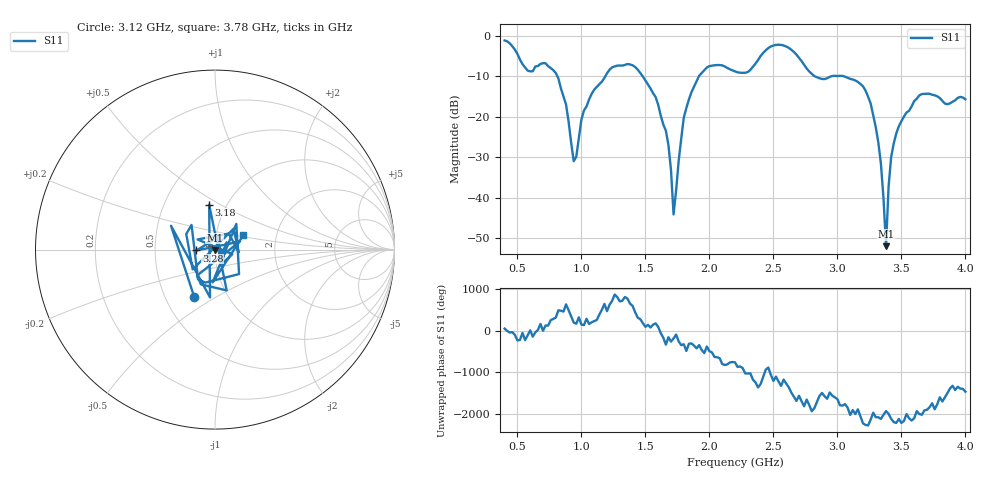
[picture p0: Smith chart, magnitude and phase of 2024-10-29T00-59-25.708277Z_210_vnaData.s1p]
!Created with skrf (http://scikit-rf.org).
# Hz S RI R 50.0
!freq ReS11 ImS11
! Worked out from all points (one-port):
!   181 points, 400 MHz to 4 GHz, reference 50 ohm
!   lowest |S11| = -52.0 dB at 3.38 GHz (marker M1), VSWR 1.01, Z = 49.8 - j0.166 ohm
!   |S11| at or under -10 dB: 811.3 MHz to 1.188 GHz (376.7 MHz wide, 37.7 % of centre); 1.478 GHz to 1.919 GHz (441.4 MHz wide, 26 % of centre); 3.044 GHz to end of sweep (the widest 3 of 5)
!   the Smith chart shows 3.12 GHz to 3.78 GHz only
!   S11 on the Smith chart (normalised r, x): 3.12 GHz: 0.70, -0.40; 3.18 GHz: 0.83, +0.44; 3.28 GHz: 0.81, -0.01; 3.78 GHz: 1.36, +0.23
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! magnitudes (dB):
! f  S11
! 400 MHz  -1.2
! 580 MHz  -8.7
! 780 MHz  -8.5
! 860 MHz  -15.1
! 940 MHz  -31.0
! 1.08 GHz  -14.4
! 1.3 GHz  -7.4
! 1.58 GHz  -15.2
! 1.68 GHz  -27.1
! 1.72 GHz  -44.1
! 1.76 GHz  -30.9
! 1.8 GHz  -20.2
! 1.92 GHz  -9.9
! 2.2 GHz  -8.9
! 2.5 GHz  -2.5
! 2.66 GHz  -4.1
! 2.82 GHz  -10.0
! 3.1 GHz  -10.7
! 3.12 GHz  -10.8
! 3.18 GHz  -12.0
! 3.28 GHz  -19.7
! 3.34 GHz  -31.6
! 3.38 GHz  -52.0
! 3.4 GHz  -37.2
! 3.42 GHz  -30.0
! 3.56 GHz  -18.6
! 3.78 GHz  -15.0
! 4 GHz  -15.7
